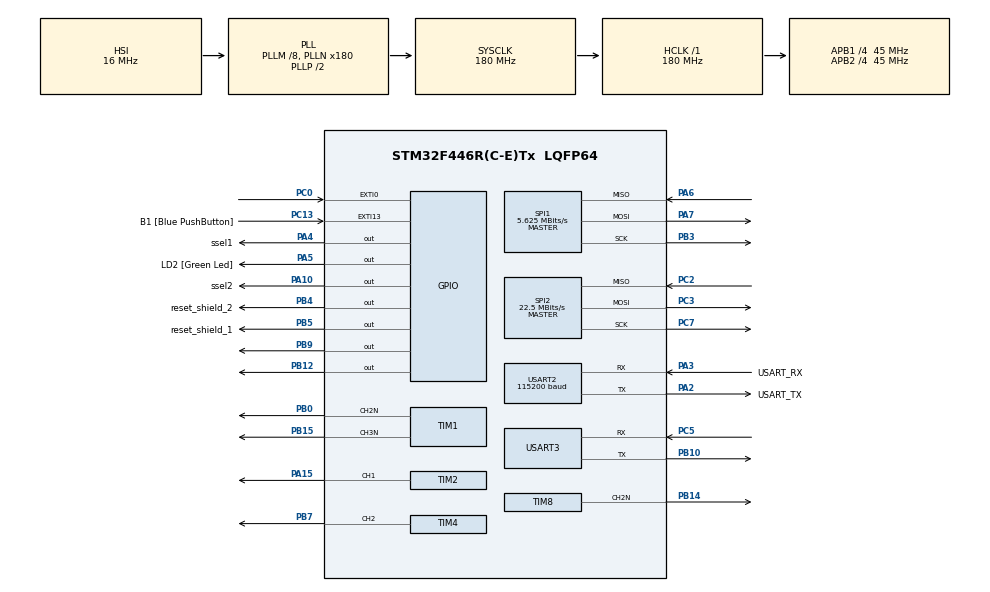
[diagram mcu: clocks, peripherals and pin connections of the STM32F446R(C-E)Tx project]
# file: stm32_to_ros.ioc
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Mcu.Family=STM32F4
Mcu.Name=STM32F446R(C-E)Tx
Mcu.Package=LQFP64
NVIC.EXTI0_IRQn=true\:0\:0\:false\:false\:true\:true\:true\:true
NVIC.PriorityGroup=NVIC_PRIORITYGROUP_0
NVIC.SPI2_IRQn=true\:0\:0\:false\:false\:true\:true\:true\:true
NVIC.TIM2_IRQn=true\:0\:2\:false\:false\:true\:true\:true\:true
NVIC.TIM6_DAC_IRQn=true\:0\:0\:false\:false\:true\:true\:true\:true
NVIC.USART2_IRQn=true\:0\:0\:false\:false\:true\:true\:true\:true
NVIC.USART3_IRQn=true\:0\:0\:false\:false\:true\:true\:true\:true
PA10.GPIO_Label=ssel2
PA10.Signal=GPIO_Output
PA13.GPIO_Label=TMS
PA13.Mode=Serial_Wire
PA13.Signal=SYS_JTMS-SWDIO
PA14.GPIO_Label=TCK
PA14.Mode=Serial_Wire
PA14.Signal=SYS_JTCK-SWCLK
PA15.Signal=S_TIM2_CH1_ETR
PA2.GPIO_Label=USART_TX
PA2.Mode=Asynchronous
PA2.Signal=USART2_TX
PA3.GPIO_Label=USART_RX
PA3.Mode=Asynchronous
PA3.Signal=USART2_RX
PA4.GPIO_Label=ssel1
PA4.Signal=GPIO_Output
PA5.GPIO_Label=LD2 [Green Led]
PA5.Signal=GPIO_Output
PA6.Mode=Full_Duplex_Master
PA6.Signal=SPI1_MISO
PA7.Mode=Full_Duplex_Master
PA7.Signal=SPI1_MOSI
PB0.Mode=PWM Generation2 CH2N
PB0.Signal=TIM1_CH2N
PB10.Mode=Asynchronous
PB10.Signal=USART3_TX
PB12.Signal=GPIO_Output
PB14.Mode=PWM Generation2 CH2N
PB14.Signal=TIM8_CH2N
PB15.Mode=PWM Generation3 CH3N
PB15.Signal=TIM1_CH3N
PB3.Mode=Full_Duplex_Master
PB3.Signal=SPI1_SCK
PB4.GPIO_Label=reset_shield_2
PB4.Signal=GPIO_Output
PB5.GPIO_Label=reset_shield_1
PB5.Signal=GPIO_Output
PB7.Signal=S_TIM4_CH2
PB9.Signal=GPIO_Output
PC0.GPIO_ModeDefaultEXTI=GPIO_MODE_IT_RISING
PC0.GPIO_PuPd=GPIO_PULLUP
PC0.Signal=GPXTI0
PC13.GPIO_Label=B1 [Blue PushButton]
PC13.GPIO_ModeDefaultEXTI=GPIO_MODE_IT_FALLING
PC13.Signal=GPXTI13
PC14-OSC32_IN.Mode=LSE-External-Oscillator
PC14-OSC32_IN.Signal=RCC_OSC32_IN
PC15-OSC32_OUT.Mode=LSE-External-Oscillator
PC15-OSC32_OUT.Signal=RCC_OSC32_OUT
PC2.Mode=Full_Duplex_Master
PC2.Signal=SPI2_MISO
PC3.Mode=Full_Duplex_Master
PC3.Signal=SPI2_MOSI
PC5.Mode=Asynchronous
PC5.Signal=USART3_RX
PC7.Mode=Full_Duplex_Master
PC7.Signal=SPI2_SCK
PH0-OSC_IN.Mode=HSE-External-Oscillator
PH0-OSC_IN.Signal=RCC_OSC_IN
PH1-OSC_OUT.Mode=HSE-External-Oscillator
PH1-OSC_OUT.Signal=RCC_OSC_OUT
ProjectManager.HeapSize=0x200
ProjectManager.StackSize=0x400
ProjectManager.TargetToolchain=STM32CubeIDE
RCC.48MHZClocksFreq_Value=84000000
RCC.AHBFreq_Value=180000000
RCC.APB1CLKDivider=RCC_HCLK_DIV4
RCC.APB1Freq_Value=45000000
RCC.APB1TimFreq_Value=90000000
RCC.APB2CLKDivider=RCC_HCLK_DIV4
RCC.APB2Freq_Value=45000000
RCC.APB2TimFreq_Value=90000000
RCC.CortexFreq_Value=180000000
RCC.FLatency-AdvancedSettings=FLASH_LATENCY_5
RCC.HCLKFreq_Value=180000000
RCC.HSE_VALUE=8000000
RCC.HSI_VALUE=16000000
RCC.PLLM=8
RCC.PLLN=180
RCC.SYSCLKFreq_VALUE=180000000
RCC.SYSCLKSource=RCC_SYSCLKSOURCE_PLLCLK
RCC.USBFreq_Value=180000000
RCC.VCOOutputFreq_Value=360000000
SH.S_TIM2_CH1_ETR.0=TIM2_CH1,PWM Generation1 CH1
SH.S_TIM4_CH2.0=TIM4_CH2,PWM Generation2 CH2
SPI1.BaudRatePrescaler=SPI_BAUDRATEPRESCALER_8
SPI1.CLKPhase=SPI_PHASE_2EDGE
SPI1.CLKPolarity=SPI_POLARITY_HIGH
SPI1.CalculateBaudRate=5.625 MBits/s
SPI1.DataSize=SPI_DATASIZE_8BIT
SPI1.Direction=SPI_DIRECTION_2LINES
SPI1.Mode=SPI_MODE_MASTER
SPI1.VirtualType=VM_MASTER
SPI2.CalculateBaudRate=22.5 MBits/s
SPI2.Direction=SPI_DIRECTION_2LINES
SPI2.Mode=SPI_MODE_MASTER
SPI2.VirtualType=VM_MASTER
TIM1.Channel-PWM\ Generation2\ CH2N=TIM_CHANNEL_2
TIM1.Channel-PWM\ Generation3\ CH3N=TIM_CHANNEL_3
TIM2.AutoReloadPreload=TIM_AUTORELOAD_PRELOAD_ENABLE
TIM2.Channel-PWM\ Generation1\ CH1=TIM_CHANNEL_1
TIM2.Period=1800000
TIM4.Channel-PWM\ Generation2\ CH2=TIM_CHANNEL_2
TIM6.Period=65520
TIM6.Prescaler=1221-1
TIM8.Channel-PWM\ Generation2\ CH2N=TIM_CHANNEL_2
USART2.BaudRate=115200
USART2.VirtualMode=VM_ASYNC
USART3.VirtualMode=VM_ASYNC
VP_TIM2_VS_ClockSourceINT.Mode=Internal
VP_TIM6_VS_ClockSourceINT.Mode=Enable_Timer
board=NUCLEO-F446RE

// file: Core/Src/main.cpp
/* USER CODE BEGIN Header */
/**
 ******************************************************************************
 * @file           : main.c
 * @brief          : Main program body
 ******************************************************************************
 * @attention
 *
 * Copyright (c) 2023 STMicroelectronics.
 * All rights reserved.
 *
 * This software is licensed under terms that can be found in the LICENSE file
 * in the root directory of this software component.
 * If no LICENSE file comes with this software, it is provided AS-IS.
 *
 ******************************************************************************
 */
/* USER CODE END Header */
#include "main.h"

/* USER CODE BEGIN Includes */
#include <string.h>
#include <stdlib.h>
#include <stdio.h>
#include "XNucleoIHM02A1.h"
#include "BlocMoteurs.hpp"
#include "Embase3Roues.hpp"
#include <math.h>
#include <sys/wait.h>

/* USER CODE END Includes */

SPI_HandleTypeDef hspi1;
SPI_HandleTypeDef hspi2;

TIM_HandleTypeDef htim1;
TIM_HandleTypeDef htim2;
TIM_HandleTypeDef htim4;
TIM_HandleTypeDef htim6;
TIM_HandleTypeDef htim8;

UART_HandleTypeDef huart2;
UART_HandleTypeDef huart3;
/* USER CODE BEGIN PV */

//Flag to control a timeout state
//Timeout occurs if no data was received from serial in a long time
bool timeout_moteurs = false;

//Class handling motors
BlocMoteurs *moteurs;
Embase3Roues *embase;

volatile bool motors_busy;
volatile bool movement_allowed;
volatile bool robot_started;
volatile bool init_requested = false;

//INIT
volatile bool get_out_step = false;
//Strayegie
volatile uint8_t equipe = BLEU;//Calibration Default
volatile uint8_t nb_panneaux = 3;

volatile unsigned int compteur = 0;
volatile uint8_t num_tache = 0;
uint8_t uart_received_char;

/* USER CODE END PV */

void SystemClock_Config(void);
static void MX_GPIO_Init(void);
static void MX_USART2_UART_Init(void);
static void MX_TIM2_Init(void);
static void MX_SPI1_Init(void);
static void MX_SPI2_Init(void);
static void MX_TIM1_Init(void);
static void MX_TIM4_Init(void);
static void MX_TIM8_Init(void);
static void MX_USART3_UART_Init(void);
static void MX_TIM6_Init(void);

/* USER CODE BEGIN PFP */
void setDefaultInstructions(Embase3Roues *e);

/* USER CODE END PFP */

int main(void) {

	/* MCU Configuration--------------------------------------------------------*/

	/* Reset of all peripherals, Initializes the Flash interface and the Systick. */
	HAL_Init();

	/* Configure the system clock */
	SystemClock_Config();

	/* Initialize all configured peripherals */
	MX_GPIO_Init();
	MX_USART2_UART_Init();
	MX_TIM2_Init();
	MX_SPI1_Init();
	MX_SPI2_Init();
	MX_TIM1_Init();
	MX_TIM4_Init();
	MX_TIM8_Init();
	MX_USART3_UART_Init();
	MX_TIM6_Init();
	/* USER CODE BEGIN 2 */

	//Start Timer2 interrupt (every 20 ms here)
	HAL_TIM_Base_Start_IT(&htim2);

	HAL_UART_Receive_IT(&huart2, &uart_received_char, sizeof(uint8_t));

	//Init motor class
	/* moteurs = new BlocMoteurs(&hspi1, reset_shield_1_GPIO_Port,
			reset_shield_1_Pin, ssel1_GPIO_Port, ssel1_Pin,
			reset_shield_2_GPIO_Port, reset_shield_2_Pin, ssel2_GPIO_Port,
			ssel2_Pin); */

	embase = new Embase3Roues(&hspi1, reset_shield_1_GPIO_Port,
			reset_shield_1_Pin, ssel1_GPIO_Port, ssel1_Pin,
			reset_shield_2_GPIO_Port, reset_shield_2_Pin, ssel2_GPIO_Port,
			ssel2_Pin);

	embase->set_microstepping_mode(step_mode_t::STEP_MODE_HALF);
	embase->set_max_speed_moteurs(W_MAX);

	embase->appendUart('R');
	embase->appendWait(0);
	embase->appendRelativeMove(1, 0, 0);
	embase->appendWait(0);
	embase->appendSpeedMove(10, 0, 0);

	movement_allowed = false;// TODO: false not true !!!
	robot_started = true; // TODO: false not true !!!
	// Wait for "s" to start

	//HAL_UART_Transmit(&huart2, (uint8_t *) "Init OK\n", 8*sizeof(char), 1000);
	/* USER CODE END 2 */

	/* Infinite loop */
	/* USER CODE BEGIN WHILE */
	while (1) {
		// Pas touche
//		if (init_requested)
//		{
//			init_requested = false;
//			setDefaultInstructions(embase);
//			robot_started = false;
//			//HAL_UART_Transmit(&huart2, (uint8_t *) "Init OK\n", 8*sizeof(char), 1000);
//		}

		if(robot_started){
			embase->executeInstruction();
		}
		/* USER CODE END WHILE */

	}
}

void SystemClock_Config(void) {
	RCC_OscInitTypeDef RCC_OscInitStruct = { 0 };
	RCC_ClkInitTypeDef RCC_ClkInitStruct = { 0 };

	/** Configure the main internal regulator output voltage
	 */
	__HAL_RCC_PWR_CLK_ENABLE();
	__HAL_PWR_VOLTAGESCALING_CONFIG(PWR_REGULATOR_VOLTAGE_SCALE1);

	/** Initializes the RCC Oscillators according to the specified parameters
	 * in the RCC_OscInitTypeDef structure.
	 */
	RCC_OscInitStruct.OscillatorType = RCC_OSCILLATORTYPE_HSI;
	RCC_OscInitStruct.HSIState = RCC_HSI_ON;
	RCC_OscInitStruct.HSICalibrationValue = RCC_HSICALIBRATION_DEFAULT;
	RCC_OscInitStruct.PLL.PLLState = RCC_PLL_ON;
	RCC_OscInitStruct.PLL.PLLSource = RCC_PLLSOURCE_HSI;
	RCC_OscInitStruct.PLL.PLLM = 8;
	RCC_OscInitStruct.PLL.PLLN = 180;
	RCC_OscInitStruct.PLL.PLLP = RCC_PLLP_DIV2;
	RCC_OscInitStruct.PLL.PLLQ = 2;
	RCC_OscInitStruct.PLL.PLLR = 2;
	if (HAL_RCC_OscConfig(&RCC_OscInitStruct) != HAL_OK) {
		Error_Handler();
	}

	/** Activate the Over-Drive mode
	 */
	if (HAL_PWREx_EnableOverDrive() != HAL_OK) {
		Error_Handler();
	}

	/** Initializes the CPU, AHB and APB buses clocks
	 */
	RCC_ClkInitStruct.ClockType = RCC_CLOCKTYPE_HCLK | RCC_CLOCKTYPE_SYSCLK
			| RCC_CLOCKTYPE_PCLK1 | RCC_CLOCKTYPE_PCLK2;
	RCC_ClkInitStruct.SYSCLKSource = RCC_SYSCLKSOURCE_PLLCLK;
	RCC_ClkInitStruct.AHBCLKDivider = RCC_SYSCLK_DIV1;
	RCC_ClkInitStruct.APB1CLKDivider = RCC_HCLK_DIV4;
	RCC_ClkInitStruct.APB2CLKDivider = RCC_HCLK_DIV4;

	if (HAL_RCC_ClockConfig(&RCC_ClkInitStruct, FLASH_LATENCY_5) != HAL_OK) {
		Error_Handler();
	}
}

static void MX_SPI1_Init(void) {

	/* SPI1 parameter configuration*/
	hspi1.Instance = SPI1;
	hspi1.Init.Mode = SPI_MODE_MASTER;
	hspi1.Init.Direction = SPI_DIRECTION_2LINES;
	hspi1.Init.DataSize = SPI_DATASIZE_8BIT;
	hspi1.Init.CLKPolarity = SPI_POLARITY_HIGH;
	hspi1.Init.CLKPhase = SPI_PHASE_2EDGE;
	hspi1.Init.NSS = SPI_NSS_SOFT;
	hspi1.Init.BaudRatePrescaler = SPI_BAUDRATEPRESCALER_8;
	hspi1.Init.FirstBit = SPI_FIRSTBIT_MSB;
	hspi1.Init.TIMode = SPI_TIMODE_DISABLE;
	hspi1.Init.CRCCalculation = SPI_CRCCALCULATION_DISABLE;
	hspi1.Init.CRCPolynomial = 10;
	if (HAL_SPI_Init(&hspi1) != HAL_OK) {
		Error_Handler();
	}

}

static void MX_SPI2_Init(void) {

	/* SPI2 parameter configuration*/
	hspi2.Instance = SPI2;
	hspi2.Init.Mode = SPI_MODE_MASTER;
	hspi2.Init.Direction = SPI_DIRECTION_2LINES;
	hspi2.Init.DataSize = SPI_DATASIZE_8BIT;
	hspi2.Init.CLKPolarity = SPI_POLARITY_LOW;
	hspi2.Init.CLKPhase = SPI_PHASE_1EDGE;
	hspi2.Init.NSS = SPI_NSS_SOFT;
	hspi2.Init.BaudRatePrescaler = SPI_BAUDRATEPRESCALER_2;
	hspi2.Init.FirstBit = SPI_FIRSTBIT_MSB;
	hspi2.Init.TIMode = SPI_TIMODE_DISABLE;
	hspi2.Init.CRCCalculation = SPI_CRCCALCULATION_DISABLE;
	hspi2.Init.CRCPolynomial = 10;
	if (HAL_SPI_Init(&hspi2) != HAL_OK) {
		Error_Handler();
	}

}

static void MX_TIM1_Init(void) {

	TIM_MasterConfigTypeDef sMasterConfig = { 0 };
	TIM_OC_InitTypeDef sConfigOC = { 0 };
	TIM_BreakDeadTimeConfigTypeDef sBreakDeadTimeConfig = { 0 };

	htim1.Instance = TIM1;
	htim1.Init.Prescaler = 0;
	htim1.Init.CounterMode = TIM_COUNTERMODE_UP;
	htim1.Init.Period = 65535;
	htim1.Init.ClockDivision = TIM_CLOCKDIVISION_DIV1;
	htim1.Init.RepetitionCounter = 0;
	htim1.Init.AutoReloadPreload = TIM_AUTORELOAD_PRELOAD_DISABLE;
	if (HAL_TIM_PWM_Init(&htim1) != HAL_OK) {
		Error_Handler();
	}
	sMasterConfig.MasterOutputTrigger = TIM_TRGO_RESET;
	sMasterConfig.MasterSlaveMode = TIM_MASTERSLAVEMODE_DISABLE;
	if (HAL_TIMEx_MasterConfigSynchronization(&htim1, &sMasterConfig)
			!= HAL_OK) {
		Error_Handler();
	}
	sConfigOC.OCMode = TIM_OCMODE_PWM1;
	sConfigOC.Pulse = 0;
	sConfigOC.OCPolarity = TIM_OCPOLARITY_HIGH;
	sConfigOC.OCNPolarity = TIM_OCNPOLARITY_HIGH;
	sConfigOC.OCFastMode = TIM_OCFAST_DISABLE;
	sConfigOC.OCIdleState = TIM_OCIDLESTATE_RESET;
	sConfigOC.OCNIdleState = TIM_OCNIDLESTATE_RESET;
	if (HAL_TIM_PWM_ConfigChannel(&htim1, &sConfigOC, TIM_CHANNEL_2)
			!= HAL_OK) {
		Error_Handler();
	}
	if (HAL_TIM_PWM_ConfigChannel(&htim1, &sConfigOC, TIM_CHANNEL_3)
			!= HAL_OK) {
		Error_Handler();
	}
	sBreakDeadTimeConfig.OffStateRunMode = TIM_OSSR_DISABLE;
	sBreakDeadTimeConfig.OffStateIDLEMode = TIM_OSSI_DISABLE;
	sBreakDeadTimeConfig.LockLevel = TIM_LOCKLEVEL_OFF;
	sBreakDeadTimeConfig.DeadTime = 0;
	sBreakDeadTimeConfig.BreakState = TIM_BREAK_DISABLE;
	sBreakDeadTimeConfig.BreakPolarity = TIM_BREAKPOLARITY_HIGH;
	sBreakDeadTimeConfig.AutomaticOutput = TIM_AUTOMATICOUTPUT_DISABLE;
	if (HAL_TIMEx_ConfigBreakDeadTime(&htim1, &sBreakDeadTimeConfig)
			!= HAL_OK) {
		Error_Handler();
	}
	HAL_TIM_MspPostInit (&htim1);

}

static void MX_TIM2_Init(void) {

	TIM_ClockConfigTypeDef sClockSourceConfig = { 0 };
	TIM_MasterConfigTypeDef sMasterConfig = { 0 };
	TIM_OC_InitTypeDef sConfigOC = { 0 };

	htim2.Instance = TIM2;
	htim2.Init.Prescaler = 0;
	htim2.Init.CounterMode = TIM_COUNTERMODE_UP;
	htim2.Init.Period = 1800000;
	htim2.Init.ClockDivision = TIM_CLOCKDIVISION_DIV1;
	htim2.Init.AutoReloadPreload = TIM_AUTORELOAD_PRELOAD_ENABLE;
	if (HAL_TIM_Base_Init(&htim2) != HAL_OK) {
		Error_Handler();
	}
	sClockSourceConfig.ClockSource = TIM_CLOCKSOURCE_INTERNAL;
	if (HAL_TIM_ConfigClockSource(&htim2, &sClockSourceConfig) != HAL_OK) {
		Error_Handler();
	}
	if (HAL_TIM_PWM_Init(&htim2) != HAL_OK) {
		Error_Handler();
	}
	sMasterConfig.MasterOutputTrigger = TIM_TRGO_RESET;
	sMasterConfig.MasterSlaveMode = TIM_MASTERSLAVEMODE_DISABLE;
	if (HAL_TIMEx_MasterConfigSynchronization(&htim2, &sMasterConfig)
			!= HAL_OK) {
		Error_Handler();
	}
	sConfigOC.OCMode = TIM_OCMODE_PWM1;
	sConfigOC.Pulse = 0;
	sConfigOC.OCPolarity = TIM_OCPOLARITY_HIGH;
	sConfigOC.OCFastMode = TIM_OCFAST_DISABLE;
	if (HAL_TIM_PWM_ConfigChannel(&htim2, &sConfigOC, TIM_CHANNEL_1)
			!= HAL_OK) {
		Error_Handler();
	}
	HAL_TIM_MspPostInit(&htim2);

}

static void MX_TIM4_Init(void) {

	TIM_MasterConfigTypeDef sMasterConfig = { 0 };
	TIM_OC_InitTypeDef sConfigOC = { 0 };

	htim4.Instance = TIM4;
	htim4.Init.Prescaler = 0;
	htim4.Init.CounterMode = TIM_COUNTERMODE_UP;
	htim4.Init.Period = 65535;
	htim4.Init.ClockDivision = TIM_CLOCKDIVISION_DIV1;
	htim4.Init.AutoReloadPreload = TIM_AUTORELOAD_PRELOAD_DISABLE;
	if (HAL_TIM_PWM_Init(&htim4) != HAL_OK) {
		Error_Handler();
	}
	sMasterConfig.MasterOutputTrigger = TIM_TRGO_RESET;
	sMasterConfig.MasterSlaveMode = TIM_MASTERSLAVEMODE_DISABLE;
	if (HAL_TIMEx_MasterConfigSynchronization(&htim4, &sMasterConfig)
			!= HAL_OK) {
		Error_Handler();
	}
	sConfigOC.OCMode = TIM_OCMODE_PWM1;
	sConfigOC.Pulse = 0;
	sConfigOC.OCPolarity = TIM_OCPOLARITY_HIGH;
	sConfigOC.OCFastMode = TIM_OCFAST_DISABLE;
	if (HAL_TIM_PWM_ConfigChannel(&htim4, &sConfigOC, TIM_CHANNEL_2)
			!= HAL_OK) {
		Error_Handler();
	}
	HAL_TIM_MspPostInit (&htim4);

}

static void MX_TIM6_Init(void)
{

  TIM_MasterConfigTypeDef sMasterConfig = {0};

  htim6.Instance = TIM6;
  htim6.Init.Prescaler = 1221-1;
  htim6.Init.CounterMode = TIM_COUNTERMODE_UP;
  htim6.Init.Period = 65520;
  htim6.Init.AutoReloadPreload = TIM_AUTORELOAD_PRELOAD_DISABLE;
  if (HAL_TIM_Base_Init(&htim6) != HAL_OK)
  {
    Error_Handler();
  }
  sMasterConfig.MasterOutputTrigger = TIM_TRGO_RESET;
  sMasterConfig.MasterSlaveMode = TIM_MASTERSLAVEMODE_DISABLE;
  if (HAL_TIMEx_MasterConfigSynchronization(&htim6, &sMasterConfig) != HAL_OK)
  {
    Error_Handler();
  }

}

static void MX_TIM8_Init(void) {

	TIM_MasterConfigTypeDef sMasterConfig = { 0 };
	TIM_OC_InitTypeDef sConfigOC = { 0 };
	TIM_BreakDeadTimeConfigTypeDef sBreakDeadTimeConfig = { 0 };

	htim8.Instance = TIM8;
	htim8.Init.Prescaler = 0;
	htim8.Init.CounterMode = TIM_COUNTERMODE_UP;
	htim8.Init.Period = 65535;
	htim8.Init.ClockDivision = TIM_CLOCKDIVISION_DIV1;
	htim8.Init.RepetitionCounter = 0;
	htim8.Init.AutoReloadPreload = TIM_AUTORELOAD_PRELOAD_DISABLE;
	if (HAL_TIM_PWM_Init(&htim8) != HAL_OK) {
		Error_Handler();
	}
	sMasterConfig.MasterOutputTrigger = TIM_TRGO_RESET;
	sMasterConfig.MasterSlaveMode = TIM_MASTERSLAVEMODE_DISABLE;
	if (HAL_TIMEx_MasterConfigSynchronization(&htim8, &sMasterConfig)
			!= HAL_OK) {
		Error_Handler();
	}
	sConfigOC.OCMode = TIM_OCMODE_PWM1;
	sConfigOC.Pulse = 0;
	sConfigOC.OCPolarity = TIM_OCPOLARITY_HIGH;
	sConfigOC.OCNPolarity = TIM_OCNPOLARITY_HIGH;
	sConfigOC.OCFastMode = TIM_OCFAST_DISABLE;
	sConfigOC.OCIdleState = TIM_OCIDLESTATE_RESET;
	sConfigOC.OCNIdleState = TIM_OCNIDLESTATE_RESET;
	if (HAL_TIM_PWM_ConfigChannel(&htim8, &sConfigOC, TIM_CHANNEL_2)
			!= HAL_OK) {
		Error_Handler();
	}
	sBreakDeadTimeConfig.OffStateRunMode = TIM_OSSR_DISABLE;
	sBreakDeadTimeConfig.OffStateIDLEMode = TIM_OSSI_DISABLE;
	sBreakDeadTimeConfig.LockLevel = TIM_LOCKLEVEL_OFF;
	sBreakDeadTimeConfig.DeadTime = 0;
	sBreakDeadTimeConfig.BreakState = TIM_BREAK_DISABLE;
	sBreakDeadTimeConfig.BreakPolarity = TIM_BREAKPOLARITY_HIGH;
	sBreakDeadTimeConfig.AutomaticOutput = TIM_AUTOMATICOUTPUT_DISABLE;
	if (HAL_TIMEx_ConfigBreakDeadTime(&htim8, &sBreakDeadTimeConfig)
			!= HAL_OK) {
		Error_Handler();
	}
	HAL_TIM_MspPostInit (&htim8);

}

static void MX_USART2_UART_Init(void) {

	huart2.Instance = USART2;
	huart2.Init.BaudRate = 115200;
	huart2.Init.WordLength = UART_WORDLENGTH_8B;
	huart2.Init.StopBits = UART_STOPBITS_1;
	huart2.Init.Parity = UART_PARITY_NONE;
	huart2.Init.Mode = UART_MODE_TX_RX;
	huart2.Init.HwFlowCtl = UART_HWCONTROL_NONE;
	huart2.Init.OverSampling = UART_OVERSAMPLING_16;
	if (HAL_UART_Init(&huart2) != HAL_OK) {
		Error_Handler();
	}

}

static void MX_USART3_UART_Init(void) {

	huart3.Instance = USART3;
	huart3.Init.BaudRate = 115200;
	huart3.Init.WordLength = UART_WORDLENGTH_8B;
	huart3.Init.StopBits = UART_STOPBITS_1;
	huart3.Init.Parity = UART_PARITY_NONE;
	huart3.Init.Mode = UART_MODE_TX_RX;
	huart3.Init.HwFlowCtl = UART_HWCONTROL_NONE;
	huart3.Init.OverSampling = UART_OVERSAMPLING_16;
	if (HAL_UART_Init(&huart3) != HAL_OK) {
		Error_Handler();
	}

}

static void MX_GPIO_Init(void) {
	GPIO_InitTypeDef GPIO_InitStruct = { 0 };

	/* GPIO Ports Clock Enable */
	__HAL_RCC_GPIOC_CLK_ENABLE();
	__HAL_RCC_GPIOH_CLK_ENABLE();
	__HAL_RCC_GPIOA_CLK_ENABLE();
	__HAL_RCC_GPIOB_CLK_ENABLE();

	/*Configure GPIO pin Output Level */
	HAL_GPIO_WritePin(GPIOA, ssel1_Pin | LD2_Pin | ssel2_Pin, GPIO_PIN_RESET);

	/*Configure GPIO pin Output Level */
	HAL_GPIO_WritePin(GPIOB,
			GPIO_PIN_12 | reset_shield_2_Pin | reset_shield_1_Pin | GPIO_PIN_9,
			GPIO_PIN_RESET);

	/*Configure GPIO pin : B1_Pin */
	GPIO_InitStruct.Pin = B1_Pin;
	GPIO_InitStruct.Mode = GPIO_MODE_IT_FALLING;
	GPIO_InitStruct.Pull = GPIO_NOPULL;
	HAL_GPIO_Init(B1_GPIO_Port, &GPIO_InitStruct);

	/*Configure GPIO pin : PC0 */
	GPIO_InitStruct.Pin = GPIO_PIN_0;
	GPIO_InitStruct.Mode = GPIO_MODE_IT_RISING;
	GPIO_InitStruct.Pull = GPIO_PULLUP;
	HAL_GPIO_Init(GPIOC, &GPIO_InitStruct);

	/*Configure GPIO pins : ssel1_Pin LD2_Pin ssel2_Pin */
	GPIO_InitStruct.Pin = ssel1_Pin | LD2_Pin | ssel2_Pin;
	GPIO_InitStruct.Mode = GPIO_MODE_OUTPUT_PP;
	GPIO_InitStruct.Pull = GPIO_NOPULL;
	GPIO_InitStruct.Speed = GPIO_SPEED_FREQ_LOW;
	HAL_GPIO_Init(GPIOA, &GPIO_InitStruct);

	/*Configure GPIO pins : PB12 reset_shield_2_Pin reset_shield_1_Pin PB9 */
	GPIO_InitStruct.Pin = GPIO_PIN_12 | reset_shield_2_Pin | reset_shield_1_Pin
			| GPIO_PIN_9;
	GPIO_InitStruct.Mode = GPIO_MODE_OUTPUT_PP;
	GPIO_InitStruct.Pull = GPIO_NOPULL;
	GPIO_InitStruct.Speed = GPIO_SPEED_FREQ_LOW;
	HAL_GPIO_Init(GPIOB, &GPIO_InitStruct);

	/* EXTI interrupt init*/
	  HAL_NVIC_SetPriority(EXTI0_IRQn, 0, 0);
	  HAL_NVIC_EnableIRQ(EXTI0_IRQn);

}

/* USER CODE BEGIN 4 */

// Init instructions
void setDefaultInstructions(Embase3Roues *e)
{
	e->init();
	//Mettre appendWait(0); aprés Transmit p
	switch(equipe){
	// Modifier les lignes suivantes pour changer les déplacements...
	case BLEU:
		switch(nb_panneaux){

		case 6:
			e->appendUart('p');
			e->appendWait(0);

			e->appendRelativeMove(0, 1.45, 0);
			e->appendUart('p');
			e->appendWait(0);

			e->appendRelativeMove(0, -0.225, 0);
			e->appendUart('p');
			e->appendWait(0);

			e->appendRelativeMove(0, -0.225, 0);
			e->appendUart('p');
			e->appendWait(0);

			e->appendRelativeMove(0, -0.55, 0);
			e->appendUart('p');
			e->appendWait(0);

			e->appendRelativeMove(0, -0.225, 0);
			e->appendUart('p');
			e->appendWait(0);

			e->appendRelativeMove(0, 0, 90);
			e->appendRelativeMove(0, -1.760, 0);
			e->appendWait(100000);
			break;

		case 3:
			e->appendUart('p');
			e->appendWait(0);

			e->appendRelativeMove(0, 0.225, 0);
			e->appendUart('p');
			e->appendWait(0);

			e->appendRelativeMove(0, 0.225, 0);
			e->appendUart('p');
			e->appendWait(0);

			e->appendRelativeMove(0, 0, -110);

			e->appendRelativeMove(0, 1.736, 0);
			e->appendWait(100000);
			break;

		case 4:
			e->appendUart('p');
			e->appendWait(0);

			e->appendRelativeMove(0, 0.225, 0);
			e->appendUart('p');
			e->appendWait(0);

			e->appendRelativeMove(0, 0.225, 0);
			e->appendUart('p');
			e->appendWait(0);

			e->appendRelativeMove(0, 0.55, 0);
			e->appendUart('p');
			e->appendWait(0);

			e->appendRelativeMove(0, 0, -124);
			e->appendWait(1000);
			e->appendRelativeMove(0, 1.851, 0);
			e->appendWait(100000);
			break;

		case 5:
			e->appendUart('p');
			e->appendWait(0);

			e->appendRelativeMove(0, 0.225, 0);
			e->appendUart('p');
			e->appendWait(0);

			e->appendRelativeMove(0, 0.225, 0);
			e->appendUart('p');
			e->appendWait(0);

			e->appendRelativeMove(0, 0.55, 0);
			e->appendUart('p');
			e->appendWait(0);

			e->appendRelativeMove(0, 0.225, 0);
			e->appendUart('p');
			e->appendWait(0);

			e->appendRelativeMove(0, 0, -32);
			e->appendWait(1000);
			e->appendRelativeMove(0, 1.520, 0);
			e->appendWait(100000);
			break;
		}
		break;

	case JAUNE:
		switch(nb_panneaux){
			case 6:
				e->appendUart('p');
				e->appendWait(0);

				e->appendRelativeMove(0, -1.45, 0);
				e->appendUart('p');
				e->appendWait(0);

				e->appendRelativeMove(0, 0.225, 0);
				e->appendUart('p');
				e->appendWait(0);

				e->appendRelativeMove(0, 0.225, 0);
				e->appendUart('p');
				e->appendWait(0);

				e->appendRelativeMove(0, 0.55, 0);
				e->appendUart('p');
				e->appendWait(0);

				e->appendRelativeMove(0, 0.225, 0);
				e->appendUart('p');
				e->appendWait(0);

				e->appendRelativeMove(0, 0, -90);
				e->appendRelativeMove(0, 1.760, 0);
				e->appendWait(100000);
				break;
			case 3:
				e->appendRelativeMove(0, -0.1, 0);
				e->appendUart('p');
				e->appendWait(0);

				e->appendRelativeMove(0, -0.225, 0);
				e->appendUart('p');
				e->appendWait(0);

				e->appendRelativeMove(0, -0.225, 0);
				e->appendUart('p');
				e->appendWait(0);

				e->appendRelativeMove(0, 0, 110);
				e->appendWait(1000);

				e->appendRelativeMove(0, -1.736, 0);
				e->appendWait(100000);
				break;

			case 4:
				e->appendRelativeMove(0, -0.1, 0);
				e->appendUart('p');
				e->appendWait(0);

				e->appendRelativeMove(0, -0.225, 0);
				e->appendUart('p');
				e->appendWait(0);

				e->appendRelativeMove(0, -0.225, 0);
				e->appendUart('p');
				e->appendWait(0);

				e->appendRelativeMove(0, -0.55, 0);
				e->appendUart('p');
				e->appendWait(0);

				e->appendRelativeMove(0, 0, 124);
				e->appendWait(1000);
				e->appendRelativeMove(0, -1.851, 0);
				e->appendWait(100000);
				break;

			case 5:
				e->appendRelativeMove(0, -0.1, 0);
				e->appendUart('p');
				e->appendWait(0);

				e->appendRelativeMove(0, -0.225, 0);
				e->appendUart('p');
				e->appendWait(0);

				e->appendRelativeMove(0, -0.225, 0);
				e->appendUart('p');
				e->appendWait(0);

				e->appendRelativeMove(0, -0.55, 0);
				e->appendUart('p');
				e->appendWait(0);

				e->appendRelativeMove(0, -0.225, 0);
				e->appendUart('p');
				e->appendWait(0);

				e->appendRelativeMove(0, 0, 32);
				e->appendWait(1000);
				e->appendRelativeMove(0, -1.520, 0);
				e->appendWait(100000);
				break;
		}

	default:
		break;
	}
}

// GPIO interrupt
void HAL_GPIO_EXTI_Callback(uint16_t GPIO_Pin) {
	if (GPIO_Pin == GPIO_PIN_0) {
		// Motors are busy when pin low. Rising edge -> no longer busy
		motors_busy = false;
	}
}

//Redirect Uart callback to msg_handler if huart is huart2 peripheral
void HAL_UART_TxCpltCallback(UART_HandleTypeDef *huart) {

}

//Redirect Uart callback to msg_handler if huart is huart2 peripheral
void HAL_UART_RxCpltCallback(UART_HandleTypeDef *huart) {
	if(huart->Instance == USART2)
	{
		switch(uart_received_char)
		{
		case 's':
			movement_allowed = true;
			robot_started = true;
			break;

		case 'w':
			movement_allowed = false;
			break;

		case 'i':
			init_requested = true;
			get_out_step = true;
			break;

		case 'b':
			equipe = BLEU;

			break;

		case 'j':
			equipe = JAUNE;
			break;

		case '3':
			nb_panneaux = 3;
			break;

		case '6':
			nb_panneaux = 6;
			break;

		default:
			break;
		}

		// ALWAYS READ UART
		HAL_UART_Receive_IT(&huart2, &uart_received_char, sizeof(uint8_t));
	}
}

//Timer 2 interrupt (every 20ms)
void HAL_TIM_PeriodElapsedCallback(TIM_HandleTypeDef *htim) {
	/*if(htim->Instance == TIM2){
		compteur++;
		if(compteur==4500){//90s => arret
			embase->motors_stop_hard();
			HAL_Delay(HAL_MAX_DELAY);
		}
		if(compteur == 4000){
			num_tache=embase->getCurrentIndex();
			switch(equipe){
					case(BLEU):
						embase->insertRelativeMove(1.553-X_Absolut,-Y_Absolut,0);
						break;
					case(JAUNE):
						embase->insertRelativeMove(-1.553-X_Absolut,-Y_Absolut,0);
						break;
					default:
						break;
			}

		}
	}*/
}

/* USER CODE END 4 */

void Error_Handler(void) {
	__disable_irq();
	while (1) {
	}
}
